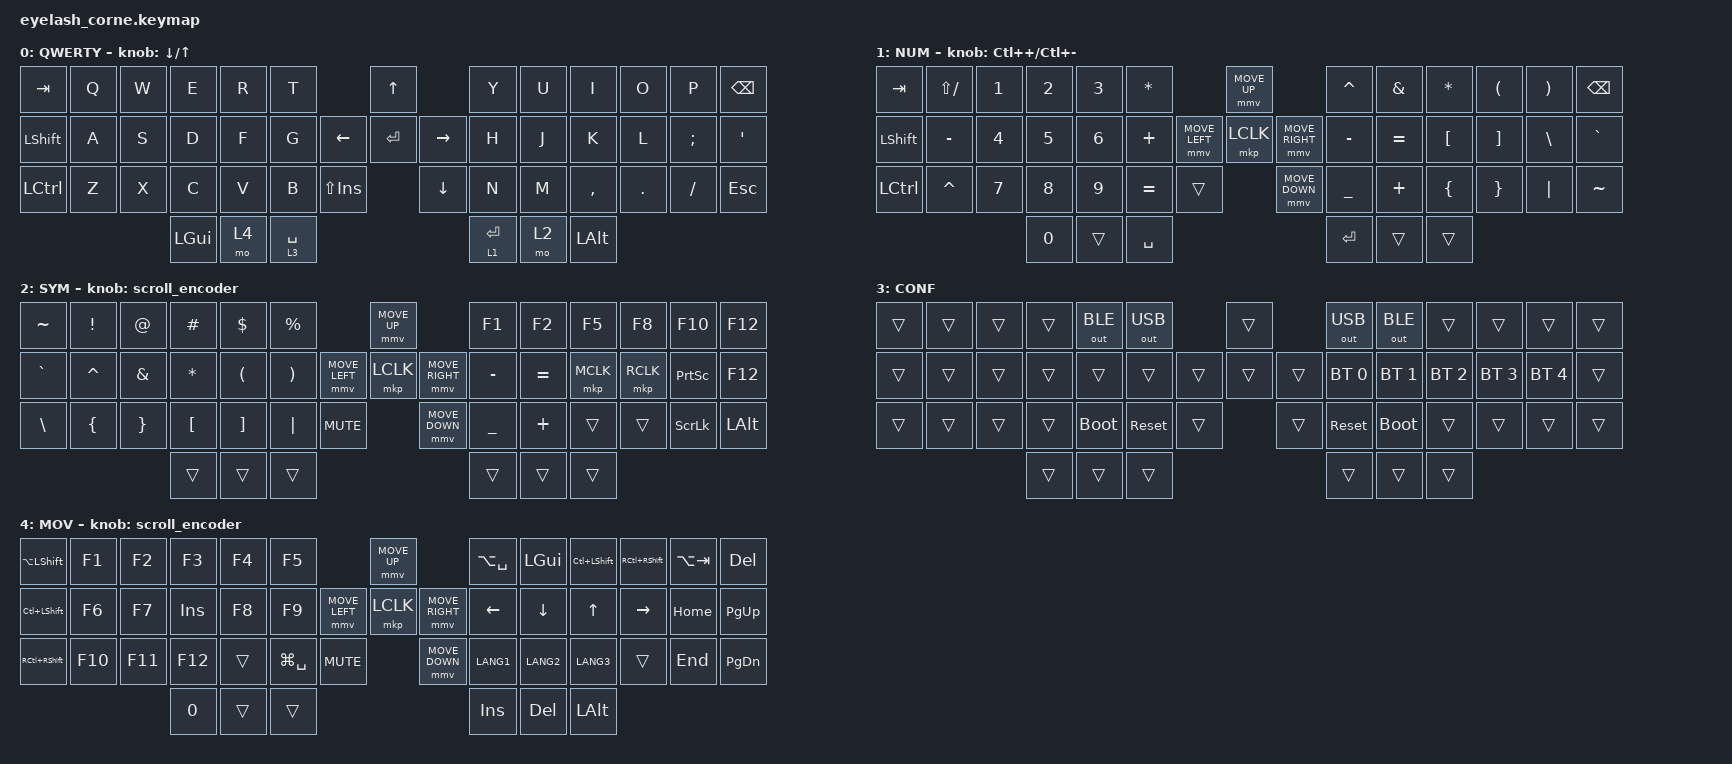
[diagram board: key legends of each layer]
#include <dt-bindings/zmk/mouse.h>
#include <input/processors.dtsi>
#include <behaviors.dtsi>
#include <dt-bindings/zmk/bt.h>
#include <dt-bindings/zmk/keys.h>
#include <dt-bindings/zmk/outputs.h>
#include <dt-bindings/zmk/pointing.h>
#include <dt-bindings/zmk/rgb.h>

/*

   &mmv_input_listener {
       input-processors = <&zip_xy_scaler 2 1>;
   };

   &msc_input_listener {
       input-processors = <&zip_xy_scaler 2 1>;
   };

 */

#define ZMK_MOUSE_DEFAULT_MOVE_VAL 1200  // 600
#define ZMK_MOUSE_DEFAULT_SCRL_VAL 20    // 10

/ {
    behaviors {
        td0: td0 {
            compatible = "zmk,behavior-tap-dance";
            display-name = "Shift/Caps Lock Tap Dance";
            #binding-cells = <0>;
            bindings = <&kp LEFT_SHIFT>, <&kp CAPS>;
        };
    };

    rgb_encoder: rgb_encoder {
        compatible = "zmk,behavior-sensor-rotate";
        #sensor-binding-cells = <0>;
        bindings = <&rgb_ug RGB_BRI>, <&rgb_ug RGB_BRD>;
    };

    scroll_encoder: scroll_encoder {
        compatible = "zmk,behavior-sensor-rotate";
        #sensor-binding-cells = <0>;
        bindings = <&msc SCRL_DOWN>, <&msc SCRL_UP>;

        tap-ms = <30>;
    };

    keymap {
        compatible = "zmk,keymap";

        default_layer {
            display-name = "QWERTY";
            bindings = <
&kp TAB         &kp Q  &kp W  &kp E     &kp R  &kp T                                    &kp UP                &kp Y        &kp U  &kp I      &kp O    &kp P     &kp BSPC
&kp LEFT_SHIFT  &kp A  &kp S  &kp D     &kp F  &kp G                          &kp LEFT  &kp ENTER  &kp RIGHT  &kp H        &kp J  &kp K      &kp L    &kp SEMI  &kp SQT
&kp LCTRL       &kp Z  &kp X  &kp C     &kp V  &kp B        &kp LS(INSERT)              &kp DOWN              &kp N        &kp M  &kp COMMA  &kp DOT  &kp FSLH  &kp ESC
                              &kp LGUI  &mo 4  &lt 3 SPACE                                                    &lt 1 ENTER  &mo 2  &kp LALT
            >;

            sensor-bindings = <&inc_dec_kp DOWN_ARROW UP_ARROW>;
        };

        l_numbers {
            display-name = "NUM";
            bindings = <
&kp TAB         &kp LS(SLASH)  &kp N1  &kp N2  &kp N3  &kp ASTERISK                            &mmv MOVE_UP                     &kp CARET  &kp AMPS   &kp ASTRK  &kp LPAR  &kp RPAR  &kp BSPC
&kp LEFT_SHIFT  &kp MINUS      &kp N4  &kp N5  &kp N6  &kp PLUS                &mmv MOVE_LEFT  &mkp LCLK       &mmv MOVE_RIGHT  &kp MINUS  &kp EQUAL  &kp LBKT   &kp RBKT  &kp BSLH  &kp GRAVE
&kp LCTRL       &kp CARET      &kp N7  &kp N8  &kp N9  &kp EQUAL     &trans                    &mmv MOVE_DOWN                   &kp UNDER  &kp PLUS   &kp LBRC   &kp RBRC  &kp PIPE  &kp TILDE
                                       &kp N0  &trans  &kp SPACE                                                                &kp RET    &trans     &trans
            >;

            sensor-bindings = <&inc_dec_kp LC(PLUS) LC(MINUS)>;
        };

        l_symbols {
            display-name = "SYM";
            bindings = <
&kp TILDE      &kp EXCLAMATION  &kp AT_SIGN  &kp HASH  &kp DLLR  &kp PERCENT                                &mmv MOVE_UP                     &kp F1          &kp F2     &kp F5     &kp F8     &kp F10          &kp F12
&kp GRAVE      &kp CARET        &kp AMPS     &kp STAR  &kp LPAR  &kp RPAR                   &mmv MOVE_LEFT  &mkp LCLK       &mmv MOVE_RIGHT  &kp MINUS       &kp EQUAL  &mkp MCLK  &mkp RCLK  &kp PRINTSCREEN  &kp F12
&kp BACKSLASH  &kp LEFT_BRACE   &kp RBRC     &kp LBKT  &kp RBKT  &kp PIPE     &kp C_MUTE                    &mmv MOVE_DOWN                   &kp UNDERSCORE  &kp PLUS   &trans     &trans     &kp SCROLLLOCK   &kp LEFT_ALT
                                             &trans    &trans    &trans                                                                      &trans          &trans     &trans
            >;

            sensor-bindings = <&scroll_encoder>;
        };

        r_kb_conf {
            bindings = <
&trans  &trans  &trans  &trans  &out OUT_BLE  &out OUT_USB                    &trans          &out OUT_USB  &out OUT_BLE  &trans        &trans        &trans        &trans
&trans  &trans  &trans  &trans  &trans        &trans                  &trans  &trans  &trans  &bt BT_SEL 0  &bt BT_SEL 1  &bt BT_SEL 2  &bt BT_SEL 3  &bt BT_SEL 4  &trans
&trans  &trans  &trans  &trans  &bootloader   &sys_reset    &trans            &trans          &sys_reset    &bootloader   &trans        &trans        &trans        &trans
                        &trans  &trans        &trans                                          &trans        &trans        &trans
            >;

            label = "CONF";
        };

        r_move {
            display-name = "MOV";
            bindings = <
&kp LA(LEFT_SHIFT)   &kp F1   &kp F2   &kp F3      &kp F4  &kp F5                                       &mmv MOVE_UP                     &kp LA(SPACE)  &kp LEFT_GUI  &kp LC(LEFT_SHIFT)  &kp RC(RIGHT_SHIFT)  &kp LA(TAB)  &kp DEL
&kp LC(LEFT_SHIFT)   &kp F6   &kp F7   &kp INSERT  &kp F8  &kp F9                       &mmv MOVE_LEFT  &mkp LCLK       &mmv MOVE_RIGHT  &kp LEFT       &kp DOWN      &kp UP              &kp RIGHT            &kp HOME     &kp PG_UP
&kp RC(RIGHT_SHIFT)  &kp F10  &kp F11  &kp F12     &trans  &kp LG(SPACE)  &kp C_MUTE                    &mmv MOVE_DOWN                   &kp LANG1      &kp LANG2     &kp LANG3           &trans               &kp END      &kp PG_DN
                                       &kp N0      &trans  &trans                                                                        &kp INS        &kp DEL       &kp LEFT_ALT
            >;

            sensor-bindings = <&scroll_encoder>;
        };
    };
};
